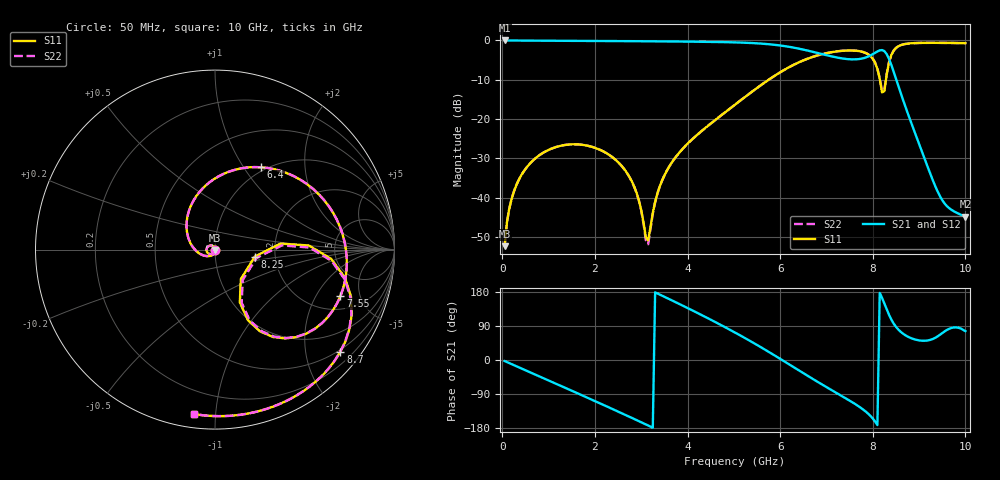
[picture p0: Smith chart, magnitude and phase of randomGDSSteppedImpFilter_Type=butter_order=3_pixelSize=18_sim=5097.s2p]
! freq	dB(S11)	phase(S11)	dB(S12)	phase(S12)
!  dB(S21)	phase(S21)	dB(S22)	phase(S22)
!S-par simulation data
#  GHz  S  DB  R 50
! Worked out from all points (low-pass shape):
!   200 points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, 50 MHz to 10 GHz, reference 50 ohm
!   highest |S21| = 0.00 dB at 50 MHz (marker M1); lowest = -44.8 dB at 10 GHz (marker M2)
!   |S21| within 3 dB of the highest: start of sweep to 6.744 GHz; 8.071 GHz to 8.269 GHz (198.2 MHz wide, 2.43 % of centre)
!   lowest |S11| = -52.3 dB at 50 MHz (marker M3), VSWR 1.00, Z = 50 - j0.242 ohm
!   |S11| at or under -10 dB: start of sweep to 5.752 GHz; 8.154 GHz to 8.285 GHz (131 MHz wide, 1.59 % of centre)
!   |S22| runs from -52.3 to -0.6 dB; largest |S21 - S12| = 0
!   S11 on the Smith chart (normalised r, x): 50 MHz: 1.00, -0.00; 6.4 GHz: 0.95, +1.20; 7.55 GHz: 2.82, -3.28; 8.25 GHz: 1.57, -0.13; 8.7 GHz: 0.46, -2.75; 10 GHz: 0.07, -0.88
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0.05  -52.33 -90.8  -0.00 -2.8  -0.00 -2.8  -52.33 -90.8
0.2  -40.35 -100.7  -0.02 -10.9  -0.02 -10.9  -40.35 -100.7
0.5  -32.69 -117.7  -0.04 -27.0  -0.04 -27.0  -32.69 -117.6
1.15  -27.15 -153.7  -0.08 -62.1  -0.08 -62.1  -27.15 -153.6
1.75  -26.59 172.6  -0.12 -94.7  -0.12 -94.7  -26.59 172.8
2.7  -33.86 115.0  -0.18 -147.3  -0.18 -147.3  -33.86 115.8
2.95  -40.72 91.9  -0.20 -161.4  -0.20 -161.4  -40.77 94.0
3.15  -50.83 -9.3  -0.21 -172.9  -0.21 -172.9  -51.83 -10.2
3.4  -37.13 -88.4  -0.24 172.7  -0.24 172.7  -37.19 -90.0
4.3  -23.08 -151.5  -0.34 118.9  -0.34 118.9  -23.09 -151.8
5.05  -16.10 158.6  -0.50 70.8  -0.50 70.8  -16.10 158.5
5.75  -10.02 109.2  -0.95 21.7  -0.95 21.7  -10.02 109.2
6.4  -5.59 60.8  -2.08 -27.1  -2.08 -27.1  -5.59 60.9
6.7  -4.20 38.7  -2.88 -49.6  -2.88 -49.6  -4.20 38.8
7.55  -2.55 -20.3  -4.82 -110.9  -4.82 -110.9  -2.55 -20.1
8  -4.66 -56.4  -3.50 -154.4  -3.50 -154.4  -4.63 -55.7
8.25  -12.94 -9.8  -2.72 149.3  -2.72 149.3  -12.52 -11.3
8.35  -5.62 2.5  -4.66 119.6  -4.66 119.6  -5.55 1.3
8.5  -1.93 -19.0  -9.70 87.7  -9.70 87.7  -1.91 -19.7
8.7  -0.91 -39.1  -16.69 65.6  -16.69 65.6  -0.90 -39.5
9.45  -0.61 -77.7  -39.60 66.5  -39.60 66.5  -0.61 -77.9
10  -0.69 -97.2  -44.79 76.1  -44.79 76.1  -0.69 -97.4
